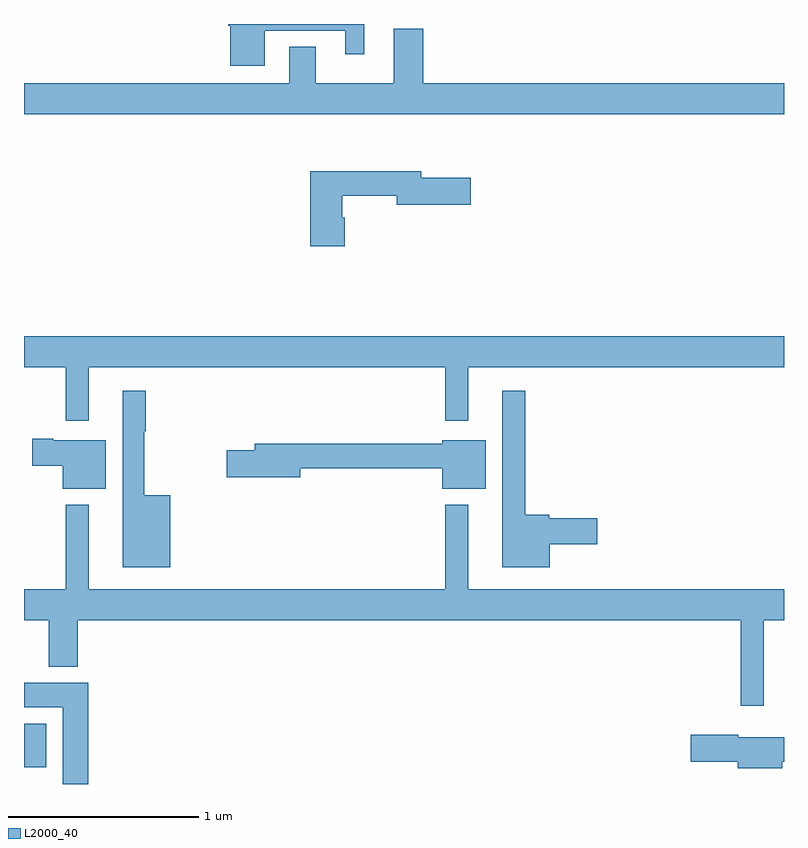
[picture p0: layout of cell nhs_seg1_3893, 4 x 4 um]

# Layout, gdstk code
import gdstk
lib = gdstk.Library(unit=1e-6, precision=1e-09)
def R(c, l, rs):  # rectangles x0, y0, x1, y1
    for r in rs: c.add(gdstk.rectangle(r[:2], r[2:], *l))
def P(c, l, *ps):  # polygons
    for p in ps: c.add(gdstk.Polygon(p, *l))
L2000_40 = (2000, 40)

nhs_seg1_3893 = lib.new_cell('nhs_seg1_3893')
R(nhs_seg1_3893, L2000_40, [(323,556.286,323.116,556.516)])
P(nhs_seg1_3893, L2000_40, [(324.268,560.163),(324.692,560.163),(324.692,560.04),(324.79,560.04),(324.79,560.199),(324.074,560.199),(324.074,560.19),(324.086,560.19),(324.086,559.979),(324.268,559.979)],
  [(327,559.888),(325.1,559.888),(325.1,560.173),(324.947,560.173),(324.947,559.888),(324.535,559.888),(324.535,560.078),(324.395,560.078),(324.395,559.888),(323,559.888),(323,559.724),(327,559.724)],
  [(324.689,559.179),(324.676,559.179),(324.676,559.294),(324.962,559.294),(324.962,559.247),(325.351,559.247),(325.351,559.389),(325.09,559.389),(325.09,559.423),(324.506,559.423),(324.506,559.029),(324.689,559.029)],
  [(323.341,558.392),(325.218,558.392),(325.218,558.111),(325.339,558.111),(325.339,558.392),(327,558.392),(327,558.556),(323,558.556),(323,558.392),(323.22,558.392),(323.22,558.111),(323.341,558.111)],
  [(323.77,557.719),(323.633,557.719),(323.633,558.055),(323.641,558.055),(323.641,558.268),(323.519,558.268),(323.519,557.339),(323.77,557.339)],
  [(325.768,557.462),(326.017,557.462),(326.017,557.597),(325.764,557.597),(325.764,557.615),(325.639,557.615),(325.639,558.268),(325.517,558.268),(325.517,557.339),(325.768,557.339)],
  [(323.431,558.007),(323.155,558.007),(323.155,558.015),(323.043,558.015),(323.043,557.873),(323.204,557.873),(323.204,557.753),(323.431,557.753)],
  [(325.429,558.007),(325.202,558.007),(325.202,557.989),(324.215,557.989),(324.215,557.955),(324.066,557.955),(324.066,557.813),(324.454,557.813),(324.454,557.86),(325.202,557.86),(325.202,557.753),(325.429,557.753)],
  [(326.893,557.06),(327,557.06),(327,557.224),(325.339,557.224),(325.339,557.668),(325.218,557.668),(325.218,557.224),(323.341,557.224),(323.341,557.668),(323.22,557.668),(323.22,557.224),(323,557.224),(323,557.06),(323.129,557.06),(323.129,556.817),(323.282,556.817),(323.282,557.06),(326.772,557.06),(326.772,556.611),(326.893,556.611)],
  [(323.339,556.732),(323,556.732),(323,556.604),(323.204,556.604),(323.204,556.199),(323.339,556.199)],
  [(326.992,556.315),(327,556.315),(327,556.444),(326.76,556.444),(326.76,556.457),(326.508,556.457),(326.508,556.315),(326.756,556.315),(326.756,556.283),(326.992,556.283)])

lib.write_gds('nhs_seg1_3893.gds')
